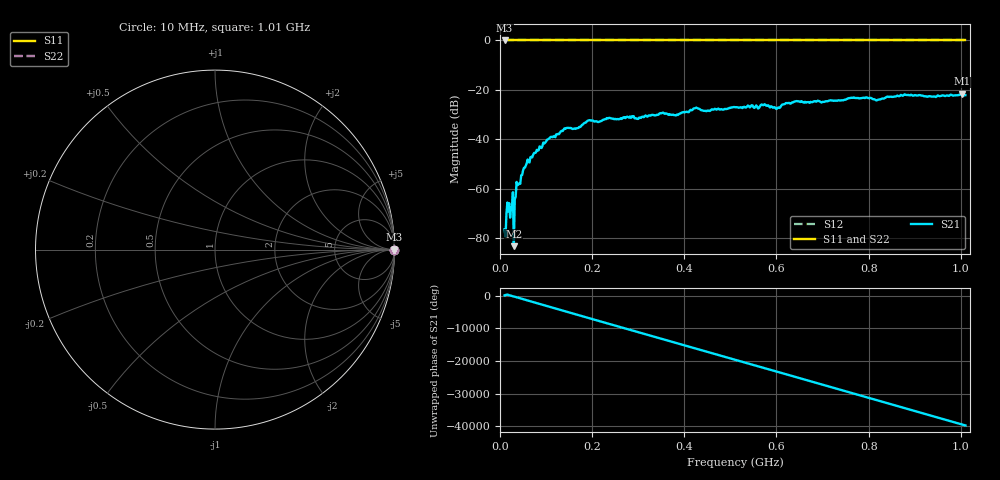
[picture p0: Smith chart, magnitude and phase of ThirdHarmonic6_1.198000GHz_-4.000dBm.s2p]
! 8/16/2025 12:22:26 PM
! C:\ANRITSUVNA\TEMP\TEMP.S2P
! CHANNEL.1
! TR.MEASUREMENT
! RAW.DATA
! RF.CORRECTION.OFF
! AVERAGING.OFF
! IF.BANDWIDTH: 5KHZ
! SWEEPTYPE:  FREQ.SWEEP(Linear)
! Reference Plane Port Info
! PORT:  PORT1  PORT2
! DISTANCE:  0  m  0  m
! TIME:  0  s  0  s
! PHASE.OFFSET:  0  deg.  0  deg.
! LOSS:  0  dB  0  dB
! REF.LOSS:  0  dB  0  dB
! REF.FREQ:  0  Hz  0  Hz
! Power Info
! POWER:  -20  dBm  -20  dBm
! EFF.POWER:  -20  dBm  -20  dBm
! SOURCE.ATTEN:  0  dB  0  dB
! TEST.ATTEN:  0  dB  0  dB
# GHZ S RI R 50.0
! FREQ.GHZ  S11RE  S11IM  S21RE  S21IM  S12RE  S12IM  S22RE  S22IM
!; PortSelection: Port_12
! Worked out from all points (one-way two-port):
!   501 points, 10 MHz to 1.01 GHz, reference 50 ohm
!   highest |S21| = -21.55 dB at 1.002 GHz (marker M1); lowest = -83.2 dB at 30 MHz (marker M2)
!   lowest |S11| = 0.0 dB at 10 MHz (marker M3)
!   |S11| at or under -10 dB: nowhere
!   |S22| runs from 0.0 to 0.0 dB; largest |S21 - S12| = 1.1
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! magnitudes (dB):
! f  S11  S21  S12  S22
! 10 MHz  0.0  -76.4  0.0  0.0
! 18 MHz  0.0  -69.2  0.0  0.0
! 24 MHz  0.0  -67.6  0.0  0.0
! 26 MHz  0.0  -68.3  0.0  0.0
! 30 MHz  0.0  -83.2  0.0  0.0
! 34 MHz  0.0  -63.2  0.0  0.0
! 36 MHz  0.0  -57.2  0.0  0.0
! 40 MHz  0.0  -58.3  0.0  0.0
! 56 MHz  0.0  -50.6  0.0  0.0
! 70 MHz  0.0  -47.3  0.0  0.0
! 108 MHz  0.0  -39.4  0.0  0.0
! 142 MHz  0.0  -35.7  0.0  0.0
! 178 MHz  0.0  -34.1  0.0  0.0
! 194 MHz  0.0  -32.3  0.0  0.0
! 344 MHz  0.0  -30.0  0.0  0.0
! 510 MHz  0.0  -27.0  0.0  0.0
! 602 MHz  0.0  -27.3  0.0  0.0
! 642 MHz  0.0  -24.6  0.0  0.0
! 678 MHz  0.0  -25.0  0.0  0.0
! 844 MHz  0.0  -22.9  0.0  0.0
! 1.002 GHz  0.0  -21.5  0.0  0.0
! 1.01 GHz  0.0  -22.1  0.0  0.0
